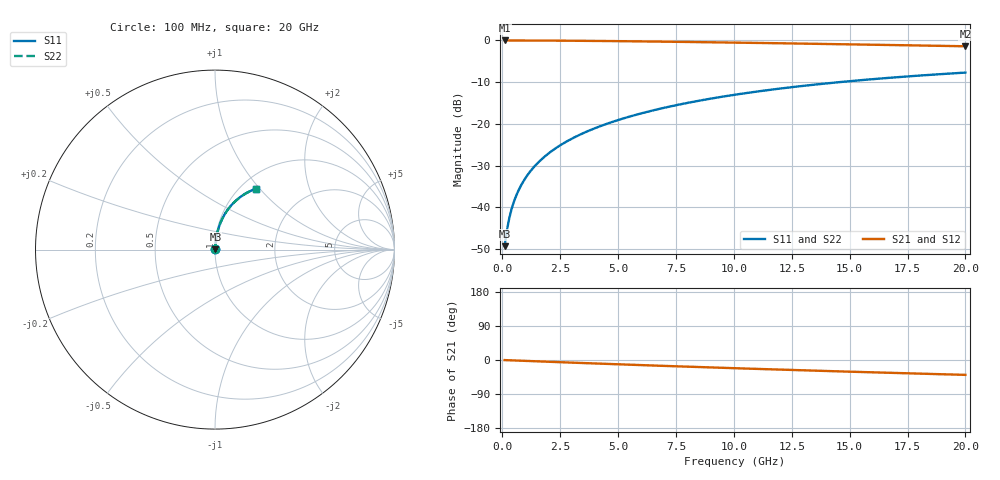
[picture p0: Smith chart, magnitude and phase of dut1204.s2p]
! Touchstone file exported from HFSS 2024.1.0
!  File:  C:/UserFiles/LocalFiles/RDL_TSV_Batchsim/temp_RDL_bottom_1204_1780243389.aedt
!  Generated:  12:05:57 AM Jun  1, 2026
!  Design:  RDL_bottom
!  Project:  temp_RDL_bottom_1204_1780243389
!  Setup:  Setup1
!  Solution:  Sweep
! Variables:
!  dtsv = 10.80580581um
!  hbump = 3um
!  htsv = 91.98um
!  ldown = 503.11um
!  lrdl = 100um
!  p = 40
!  p1 = 57.23um
!  rhole = 1um
!  t = 450um
!  tdown = 4.13um
!  trdl = 3.915915916um
!  wdown = 18.31um
!  wrdl = 20um
# GHz S MA R 50.000000
! Terminal data exported
! Port[1] = RDL1_T1
! Port[2] = RDL1_T2
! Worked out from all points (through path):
!   200 points, 100 MHz to 20 GHz, reference 50 ohm
!   highest |S21| = -0.02 dB at 100 MHz (marker M1); lowest = -1.4 dB at 20 GHz (marker M2)
!   group delay of S21, straight-line fit = 5.43 ps
!   lowest |S11| = -49.3 dB at 100 MHz (marker M3), VSWR 1.01, Z = 50.3 + j0.233 ohm
!   |S11| at or under -10 dB: start of sweep to 14.58 GHz
!   |S22| runs from -49.3 to -7.7 dB; largest |S21 - S12| = 2.7e-15
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0.1  0.003412 42.9  0.9975 -0.2  0.9975 -0.2  0.003412 42.9
! Gamma 0 0 0 0
! Port Impedance 50 0 50 0
0.2  0.005286 60.6  0.9974 -0.5  0.9974 -0.5  0.005286 60.6
0.3  0.007359 68.4  0.9973 -0.7  0.9973 -0.7  0.007359 68.4
0.4  0.009475 72.6  0.9971 -1.0  0.9971 -1.0  0.009475 72.6
0.5  0.0116 75.3  0.997 -1.2  0.997 -1.2  0.0116 75.3
0.6  0.01374 77.2  0.9968 -1.4  0.9968 -1.4  0.01374 77.2
0.8  0.01803 79.6  0.9966 -1.9  0.9966 -1.9  0.01803 79.6
1.1  0.02452 81.5  0.996 -2.6  0.996 -2.6  0.02452 81.5
1.5  0.03323 82.8  0.9952 -3.5  0.9952 -3.5  0.03323 82.8
1.8  0.0398 83.2  0.9944 -4.2  0.9944 -4.2  0.0398 83.2
2.1  0.04638 83.4  0.9934 -4.9  0.9934 -4.9  0.04638 83.4
2.7  0.05961 83.3  0.9912 -6.3  0.9912 -6.3  0.05961 83.3
3.5  0.07735 82.8  0.9876 -8.1  0.9876 -8.1  0.07735 82.8
4.2  0.09296 82.1  0.9838 -9.6  0.9838 -9.6  0.09296 82.1
5  0.1109 81.2  0.9789 -11.4  0.9789 -11.4  0.1109 81.2
5.9  0.1311 79.9  0.9729 -13.3  0.9729 -13.3  0.1311 79.9
6.8  0.1513 78.6  0.9664 -15.2  0.9664 -15.2  0.1513 78.6
8.4  0.187 76.0  0.954 -18.4  0.954 -18.4  0.187 76.0
10.1  0.2242 73.1  0.9398 -21.8  0.9398 -21.8  0.2242 73.0
13.4  0.293 67.2  0.9107 -28.0  0.9107 -28.0  0.293 67.2
16.7  0.3555 61.4  0.8804 -33.8  0.8804 -33.8  0.3555 61.4
20  0.4109 55.9  0.8496 -39.2  0.8496 -39.2  0.4108 55.9
